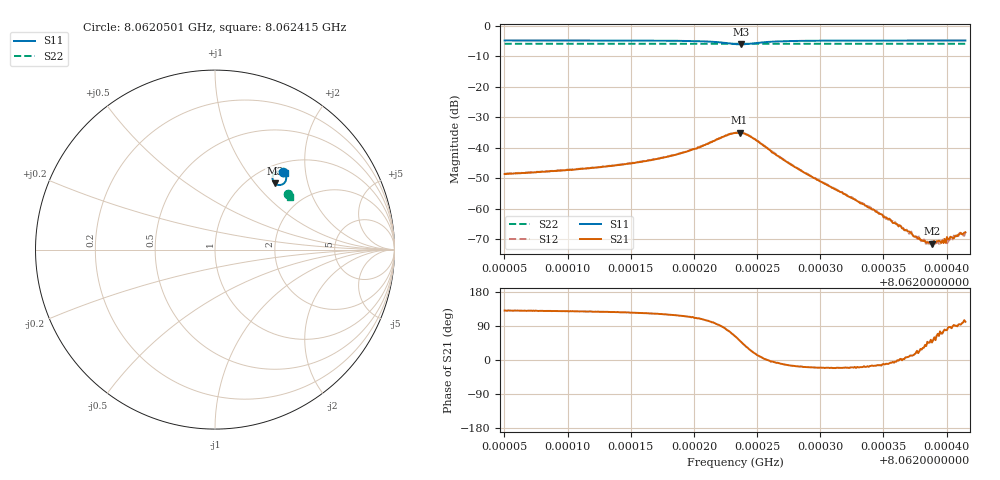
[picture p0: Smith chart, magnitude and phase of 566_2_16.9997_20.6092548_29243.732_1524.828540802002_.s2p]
#  HZ  S  RI  R  50.00
! Rohde & Schwarz Vector Network Analyzer
! Rohde-Schwarz,ZNB20-2Port,1311601062101988,3.16
! Created: UTC 3/20/2024, 11:17:25 PM
! freq[Hz]  re:S11  im:S11  re:S21  im:S21  re:S12  im:S12  re:S22  im:S22
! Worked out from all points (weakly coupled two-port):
!   401 points, 8.0620501 GHz to 8.062415 GHz, reference 50 ohm
!   highest |S21| = -35.04 dB at 8.0622362 GHz (marker M1); lowest = -71.4 dB at 8.0623885 GHz (marker M2)
!   lowest |S11| = -6.1 dB at 8.0622371 GHz (marker M3), VSWR 2.98, Z = 64.7 + j63.6 ohm
!   |S11| at or under -10 dB: nowhere
!   |S22| runs from -5.9 to -5.9 dB; largest |S21 - S12| = 0.0012
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8.06205011e9  0.3804 0.4326  -0.00242 0.00283  -0.00229 0.003  0.4044 0.3085
8.06211122e9  0.3859 0.4267  -0.0028 0.00355  -0.0026 0.00373  0.4068 0.3054
8.06215135e9  0.3906 0.4203  -0.0032 0.0046  -0.00297 0.00484  0.4082 0.3032
8.06217233e9  0.3937 0.4147  -0.00347 0.00568  -0.00312 0.00595  0.4089 0.302
8.06219696e9  0.397 0.4017  -0.0037 0.00831  -0.00313 0.00857  0.4098 0.3001
8.06221885e9  0.3889 0.3745  -0.000807 0.0138  -1.19e-05 0.0139  0.4097 0.298
8.06223253e9  0.3505 0.3607  0.008 0.0156  0.00897 0.0153  0.4084 0.2973
8.06223618e9  0.3363 0.3669  0.011 0.0139  0.012 0.0134  0.4078 0.2974
8.06223709e9  0.3333 0.3695  0.0116 0.0133  0.0125 0.0127  0.4078 0.2977
8.06224621e9  0.3204 0.4027  0.0137 0.00543  0.0141 0.00484  0.4079 0.2988
8.06227175e9  0.3522 0.4362  0.00606 -0.00131  0.00609 -0.00167  0.4108 0.2988
8.06229364e9  0.3668 0.436  0.00314 -0.00111  0.00312 -0.00131  0.4119 0.2975
8.06233925e9  0.3793 0.4314  0.000997 -0.000286  0.001 -0.000411  0.4141 0.2949
8.06235475e9  0.3817 0.43  0.000682 -0.000106  0.000661 -0.000157  0.4146 0.294
8.06237573e9  0.3844 0.4282  0.000333 0.000111  0.00034 9.42e-05  0.4155 0.2929
8.06238211e9  0.3851 0.4277  0.000251 0.000161  0.000277 0.000148  0.4157 0.2924
8.0623885e9  0.3857 0.4273  0.000185 0.000194  0.000185 0.000226  0.416 0.2921
8.06239306e9  0.3864 0.4268  0.000105 0.000274  0.000132 0.000254  0.4161 0.292
8.06239762e9  0.3868 0.4265  6.53e-05 0.000267  0.000127 0.000291  0.4162 0.2918
8.06240127e9  0.3871 0.4262  2.32e-05 0.000314  5.84e-05 0.000279  0.4163 0.2914
8.06241039e9  0.388 0.4256  -2.77e-05 0.000382  -8.3e-06 0.000403  0.4167 0.2909
8.06241495e9  0.3885 0.4253  -7.83e-05 0.000405  -2.82e-05 0.000406  0.4168 0.2909
